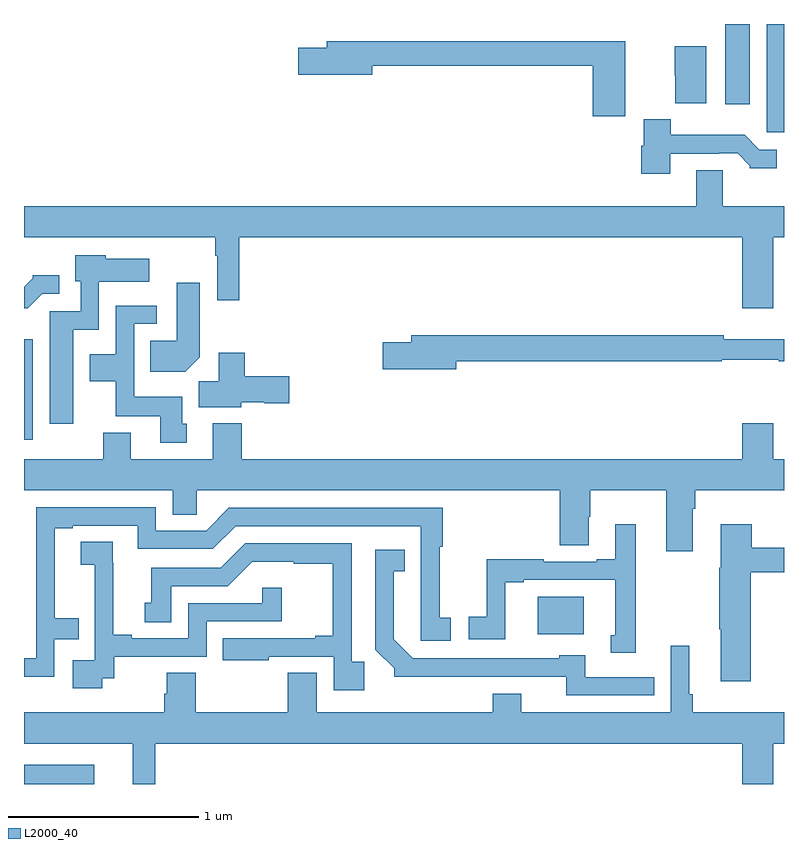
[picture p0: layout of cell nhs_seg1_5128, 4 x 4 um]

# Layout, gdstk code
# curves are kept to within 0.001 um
import gdstk
lib = gdstk.Library(unit=1e-6, precision=1e-09)
def R(c, l, rs):  # rectangles x0, y0, x1, y1
    for r in rs: c.add(gdstk.rectangle(r[:2], r[2:], *l))
def P(c, l, *ps):  # polygons
    for p in ps: c.add(gdstk.Polygon(p, *l))
L2000_40 = (2000, 40)

nhs_seg1_5128 = lib.new_cell('nhs_seg1_5128')
R(nhs_seg1_5128, L2000_40, [(389,538.199,389.371,538.3), (391.703,538.988,391.945,539.185), (389,540.012,389.047,540.541), (392.909,541.629,393,542.199), (392.69,541.776,392.821,542.199)])
P(nhs_seg1_5128, L2000_40, [(392.164,542.107),(390.593,542.107),(390.593,542.073),(390.444,542.073),(390.444,541.931),(390.832,541.931),(390.832,541.978),(391.994,541.978),(391.994,541.713),(392.164,541.713)],
  [(392.59,542.083),(392.426,542.083),(392.426,541.929),(392.428,541.929),(392.428,541.781),(392.59,541.781)],
  [(392.401,541.515),(392.657,541.515),(392.657,541.518),(392.756,541.518),(392.82,541.454),(392.82,541.439),(392.962,541.439),(392.962,541.536),(392.871,541.536),(392.793,541.615),(392.404,541.615),(392.404,541.699),(392.261,541.699),(392.261,541.557),(392.249,541.557),(392.249,541.41),(392.401,541.41)],
  [(392.944,541.076),(393,541.076),(393,541.24),(392.677,541.24),(392.677,541.43),(392.537,541.43),(392.537,541.24),(389,541.24),(389,541.076),(390.006,541.076),(390.006,540.98),(390.018,540.98),(390.018,540.744),(390.134,540.744),(390.134,541.076),(392.78,541.076),(392.78,540.702),(392.944,540.702)],
  [(389.26,540.59),(389.394,540.59),(389.394,540.842),(389.659,540.842),(389.659,540.964),(389.43,540.964),(389.43,540.982),(389.27,540.982),(389.27,540.846),(389.298,540.846),(389.298,540.687),(389.135,540.687),(389.135,540.096),(389.26,540.096)],
  [(389.097,540.78),(389.185,540.78),(389.185,540.877),(389.046,540.877),(389.046,540.862),(389,540.816),(389,540.702),(389.019,540.702)],
  [(389.926,540.446),(389.926,540.838),(389.804,540.838),(389.804,540.532),(389.665,540.532),(389.665,540.368),(389.848,540.368)],
  [(389.857,540.096),(389.833,540.096),(389.833,540.238),(389.58,540.238),(389.58,540.621),(389.698,540.621),(389.698,540.717),(389.484,540.717),(389.484,540.46),(389.345,540.46),(389.345,540.32),(389.482,540.32),(389.482,540.134),(389.717,540.134),(389.717,539.994),(389.857,539.994)],
  [(391.276,540.424),(392.672,540.424),(392.672,540.432),(392.972,540.432),(392.972,540.424),(393,540.424),(393,540.541),(392.684,540.541),(392.684,540.56),(391.037,540.56),(391.037,540.524),(390.888,540.524),(390.888,540.382),(391.276,540.382)],
  [(390.144,540.209),(390.264,540.209),(390.264,540.202),(390.397,540.202),(390.397,540.344),(390.161,540.344),(390.161,540.469),(390.026,540.469),(390.026,540.32),(389.921,540.32),(389.921,540.182),(390.144,540.182)],
  [(392.521,539.648),(392.534,539.648),(392.534,539.744),(393,539.744),(393,539.908),(392.944,539.908),(392.944,540.097),(392.78,540.097),(392.78,539.908),(390.146,539.908),(390.146,540.097),(389.993,540.097),(389.993,539.908),(389.563,539.908),(389.563,540.049),(389.416,540.049),(389.416,539.908),(389,539.908),(389,539.744),(389.783,539.744),(389.783,539.617),(389.91,539.617),(389.91,539.744),(391.82,539.744),(391.82,539.455),(391.972,539.455),(391.972,539.606),(391.98,539.606),(391.98,539.744),(392.381,539.744),(392.381,539.424),(392.521,539.424)],
  [(389.16,538.962),(389.288,538.962),(389.288,539.071),(389.161,539.071),(389.161,539.544),(389.257,539.544),(389.257,539.559),(389.598,539.559),(389.598,539.436),(389.994,539.436),(390.114,539.556),(391.089,539.556),(391.088,538.953),(391.246,538.953),(391.246,539.073),(391.188,539.073),(391.188,539.449),(391.205,539.449),(391.205,539.652),(390.078,539.652),(389.958,539.532),(389.694,539.532),(389.694,539.655),(389.064,539.655),(389.064,538.86),(389,538.86),(389,538.764),(389.16,538.764)],
  [(392.825,539.314),(393,539.314),(393,539.443),(392.83,539.443),(392.83,539.566),(392.666,539.566),(392.666,539.337),(392.659,539.337),(392.659,539.014),(392.666,539.014),(392.666,538.74),(392.825,538.74)],
  [(392.221,539.566),(392.111,539.566),(392.111,539.383),(392.015,539.383),(392.015,539.37),(391.736,539.37),(391.736,539.383),(391.435,539.383),(391.435,539.078),(391.341,539.078),(391.341,538.962),(391.534,538.962),(391.534,539.262),(391.63,539.262),(391.63,539.274),(392.111,539.274),(392.111,538.983),(392.087,538.983),(392.087,538.889),(392.221,538.889)],
  [(389.412,538.755),(389.474,538.755),(389.474,538.869),(389.961,538.869),(389.961,539.055),(390.356,539.055),(390.356,539.233),(390.255,539.233),(390.255,539.151),(389.865,539.151),(389.865,538.965),(389.566,538.965),(389.566,538.985),(389.47,538.985),(389.47,539.363),(389.468,539.363),(389.468,539.474),(389.298,539.474),(389.298,539.353),(389.372,539.353),(389.372,539.155),(389.373,539.155),(389.373,538.851),(389.256,538.851),(389.256,538.704),(389.412,538.704)],
  [(390.791,538.843),(390.726,538.843),(390.726,539.466),(390.165,539.466),(390.036,539.337),(389.669,539.337),(389.669,539.154),(389.636,539.154),(389.636,539.05),(389.776,539.05),(389.776,539.241),(390.072,539.241),(390.2,539.369),(390.419,539.369),(390.419,539.358),(390.625,539.358),(390.625,538.978),(390.533,538.978),(390.533,538.965),(390.046,538.965),(390.046,538.85),(390.289,538.85),(390.289,538.869),(390.63,538.869),(390.63,538.692),(390.791,538.692)],
  [(392.318,538.761),(391.954,538.761),(391.954,538.876),(391.818,538.876),(391.818,538.86),(391.047,538.86),(390.946,538.961),(390.946,539.318),(391.004,539.318),(391.004,539.431),(390.849,539.431),(390.849,538.906),(390.948,538.807),(390.948,538.763),(391.855,538.764),(391.855,538.665),(392.318,538.665)],
  [(389.69,538.412),(392.78,538.412),(392.78,538.199),(392.944,538.199),(392.944,538.412),(393,538.412),(393,538.576),(392.519,538.576),(392.519,538.672),(392.5,538.672),(392.5,538.927),(392.403,538.927),(392.403,538.576),(391.618,538.576),(391.618,538.675),(391.466,538.675),(391.466,538.576),(390.541,538.576),(390.541,538.784),(390.389,538.784),(390.389,538.576),(389.903,538.576),(389.903,538.784),(389.75,538.784),(389.75,538.674),(389.738,538.674),(389.738,538.576),(389,538.576),(389,538.412),(389.573,538.412),(389.573,538.199),(389.69,538.199)])

lib.write_gds('nhs_seg1_5128.gds')
